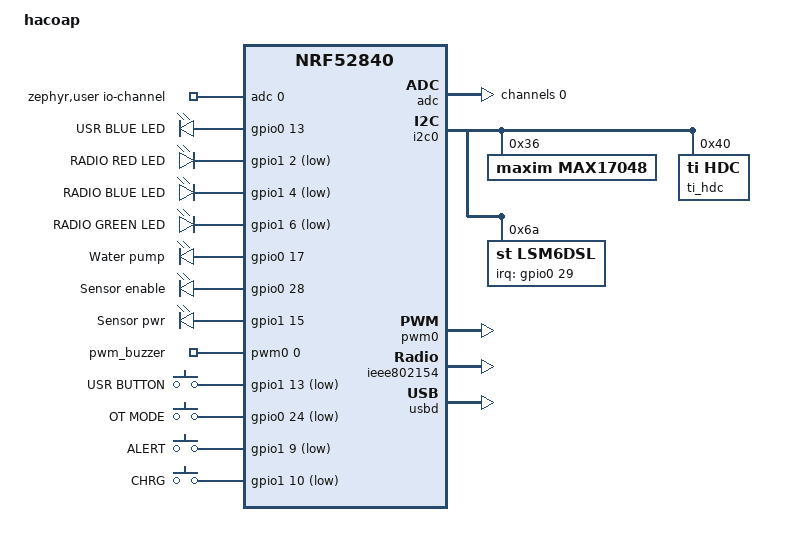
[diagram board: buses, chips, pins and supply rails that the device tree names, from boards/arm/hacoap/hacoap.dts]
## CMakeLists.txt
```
#
# Copyright (c) 2020 Nordic Semiconductor ASA
#
# SPDX-License-Identifier: LicenseRef-Nordic-5-Clause
#

cmake_minimum_required(VERSION 3.20.0)

# The hacoap board lives in this application (boards/arm/hacoap), so no -DBOARD_ROOT is needed,
# and it is the default board, so '-b hacoap' is optional.
list(APPEND BOARD_ROOT ${CMAKE_CURRENT_SOURCE_DIR})
if(NOT DEFINED BOARD AND NOT DEFINED ENV{BOARD})
    set(BOARD hacoap)
endif()

# Private settings (local.conf, not in git; see local.conf.example), merged after prj.conf
# and alongside any -DEXTRA_CONF_FILE.
if(EXISTS ${CMAKE_CURRENT_SOURCE_DIR}/local.conf)
    set(EXTRA_CONF_FILE ${CMAKE_CURRENT_SOURCE_DIR}/local.conf)
endif()

# Firmware version, from the VERSION file (Zephyr's format), into the MCUboot image header:
# what mcumgr's image list and the fleet manager show. VERSION_TWEAK is the build number.
file(READ ${CMAKE_CURRENT_SOURCE_DIR}/VERSION version_file)
set_property(DIRECTORY APPEND PROPERTY CMAKE_CONFIGURE_DEPENDS ${CMAKE_CURRENT_SOURCE_DIR}/VERSION)
foreach(field VERSION_MAJOR VERSION_MINOR PATCHLEVEL VERSION_TWEAK)
    if(NOT version_file MATCHES "${field} = ([0-9]+)")
        message(FATAL_ERROR "application/VERSION has no ${field}")
    endif()
    set(${field} ${CMAKE_MATCH_1})
endforeach()
set(image_version "${VERSION_MAJOR}.${VERSION_MINOR}.${PATCHLEVEL}+${VERSION_TWEAK}")
file(WRITE ${CMAKE_BINARY_DIR}/image_version.conf "CONFIG_MCUBOOT_IMAGE_VERSION=\"${image_version}\"\n")
list(APPEND EXTRA_CONF_FILE ${CMAKE_BINARY_DIR}/image_version.conf)
message(STATUS "Image version: ${image_version}")

# Settings from the file named by $HACOAP_EXTRA_CONF (the fleet manager's build profiles),
# merged after local.conf.
if(DEFINED ENV{HACOAP_EXTRA_CONF})
    list(APPEND EXTRA_CONF_FILE $ENV{HACOAP_EXTRA_CONF})
endif()

# MCUboot signing key: $HACOAP_SIGNING_KEY if set, else keys/mcuboot-signing-key.pem
# (not in git; create it with scripts/keygen). MCUboot embeds the public half, and the
# application images are signed with it, so a board only accepts updates signed with the
# key its bootloader was built with. Without a key, the build falls back to MCUboot's
# public development key, which anyone can sign with.
if(NOT DEFINED mcuboot_CONFIG_BOOT_SIGNATURE_KEY_FILE)
    if(DEFINED ENV{HACOAP_SIGNING_KEY})
        get_filename_component(signing_key "$ENV{HACOAP_SIGNING_KEY}" ABSOLUTE)
        if(NOT EXISTS ${signing_key})
            message(FATAL_ERROR "HACOAP_SIGNING_KEY is set, but ${signing_key} does not exist.")
        endif()
    else()
        set(signing_key ${CMAKE_CURRENT_SOURCE_DIR}/keys/mcuboot-signing-key.pem)
    endif()
    if(EXISTS ${signing_key})
        file(TO_CMAKE_PATH "${signing_key}" signing_key)
        set(mcuboot_CONFIG_BOOT_SIGNATURE_KEY_FILE "\"${signing_key}\"")
        message(STATUS "MCUboot signing key: ${signing_key}")
    else()
        message(WARNING "No private signing key (application/keys/mcuboot-signing-key.pem or "
            "HACOAP_SIGNING_KEY). This build uses MCUboot's public development key: anyone can "
            "sign images that it accepts, and boards with a private-key bootloader reject it. "
            "Run scripts/keygen to create your key.")
    endif()
endif()

find_package(Zephyr REQUIRED HINTS $ENV{ZEPHYR_BASE})

# Thread joiner PSKd: OpenThread silently refuses an invalid one, so check it here.
string(LENGTH "${CONFIG_OPENTHREAD_JOINER_PSKD}" pskd_length)
if(NOT CONFIG_OPENTHREAD_JOINER_PSKD MATCHES "^[0-9A-HJ-NPR-Y]+$" OR pskd_length LESS 6 OR pskd_length GREATER 32)
    message(FATAL_ERROR "CONFIG_OPENTHREAD_JOINER_PSKD (\"${CONFIG_OPENTHREAD_JOINER_PSKD}\") must be "
        "6 to 32 characters, A-Z and 0-9, without I, O, Q and Z. Set it in application/local.conf.")
endif()
if(CONFIG_OPENTHREAD_JOINER_PSKD STREQUAL "J01NU5")
    message(WARNING "The joiner PSKd is the public default J01NU5. Set your own in "
        "application/local.conf (see local.conf.example).")
endif()

project(openthread_coap_server)

FILE(GLOB app_sources src/*.c)
# The log over the air only when it's on (CONFIG_HACOAP_REMOTE_LOG)
list(FILTER app_sources EXCLUDE REGEX "/(log_buffer|remote_log)\\.c$")
# NORDIC SDK APP START
target_sources(app PRIVATE ${app_sources})
target_sources_ifdef(CONFIG_HACOAP_REMOTE_LOG app PRIVATE src/log_buffer.c src/remote_log.c)
target_include_directories(app PRIVATE include)
# NORDIC SDK APP END

# Generate include/version.h (the git commit, reported in the 'info' resource) at every build
add_custom_target(
    generate_version_header
    COMMAND ${CMAKE_COMMAND}
        -DSOURCE_DIR=${CMAKE_CURRENT_SOURCE_DIR}
        -DHEADER_FILE=${CMAKE_BINARY_DIR}/include/version.h
        -P ${CMAKE_CURRENT_SOURCE_DIR}/scripts/generate_version.cmake
    COMMENT "Generating version header file"
)

# Ensure the version header is generated before the build starts
add_dependencies(app generate_version_header)

# Include the directory where version.h will be generated
include_directories(${CMAKE_BINARY_DIR}/include)
```

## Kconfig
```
#
# Copyright (c) 2020 Nordic Semiconductor ASA
#
# SPDX-License-Identifier: LicenseRef-Nordic-5-Clause
#

menu "Zephyr Kernel"
source "Kconfig.zephyr"
endmenu

menu "ha-coap application"

config HACOAP_HW_VERSION
	string "Hardware version"
	default "v2.0"
	help
	  Board revision reported in the 'info' CoAP resource.

config HACOAP_BOOT_DELAY_MS
	int "Delay at the start of main() (ms)"
	default 2150

config HACOAP_STATUS_LED_TIMEOUT_S
	int "How long the RGB LED shows a state (s)"
	range 0 86400
	default 300
	help
	  The RGB LED shows the network state (and errors) as a short flash
	  every 5 s. It stops this long after the last change, to save power
	  when the network stays down. 0 flashes for as long as the state lasts.

config HACOAP_MCUMGR_POLL_PERIOD_MS
	int "Thread poll period while mcumgr is in use (ms)"
	range 10 10000
	default 100
	help
	  A sleepy device receives a message only when it polls its parent, so
	  with a long CONFIG_OPENTHREAD_POLL_PERIOD every mcumgr request (each
	  chunk of an image upload) would wait up to a full period. The device
	  polls at this period from the first mcumgr request until
	  HACOAP_MCUMGR_POLL_TIMEOUT_S after the last one. Reading the 'log'
	  resource (HACOAP_REMOTE_LOG) does the same.

config HACOAP_MCUMGR_POLL_TIMEOUT_S
	int "Return to the normal poll period after this long without mcumgr requests (s)"
	range 1 3600
	default 30

config HACOAP_USB_POLL_PERIOD_MS
	int "Thread poll period on USB power (ms)"
	range 10 600000
	default 500
	help
	  On USB power, battery life doesn't matter: the device polls its parent at
	  least this often, so commands reach it quickly. On the battery again, it
	  goes back to the normal period (CONFIG_OPENTHREAD_POLL_PERIOD, or the
	  'poll_ms' setting). mcumgr still polls faster (HACOAP_MCUMGR_POLL_PERIOD_MS).

config HACOAP_POWER_CHECK_S
	int "How often the device checks whether it's on USB power, and charging (s)"
	range 1 3600
	default 10

config HACOAP_BOOT_PROBE
	bool "Diagnostic build: boot breadcrumbs in the board's settings"
	help
	  For an image that doesn't start after an update (the bootloader reverts it, and
	  it's never seen): as it starts, it writes how far it got into two settings, which
	  the previous firmware reports over mcumgr after the revert. 'sample_s' is the stage
	  reached times 1000 plus the uptime in seconds (1: main, 2: watchdog set up, 3: after
	  the boot delay, 4: boot counted, 5: USB, 6: sensors, 7: CoAP, 8: OpenThread
	  started, 9 and up: every 5 s after). 'soil_wet_mv' is 1 + 100 times the reset cause
	  (diag.h) + 10 if the watchdog was already running. Once the boot got through
	  (stage 20), it puts both back as they were: they stay only when it got stuck.
	  Not for boards in use.

config HACOAP_REMOTE_LOG
	bool "Log over the air (the 'log' CoAP resource)"
	select LOG
	help
	  Keeps the latest log output in RAM (HACOAP_REMOTE_LOG_BUFFER_SIZE)
	  for the 'log' CoAP resource, which the fleet manager's console reads
	  over Thread. While someone reads it, the device polls its parent
	  fast, as during an update, so a console costs battery only while it
	  is open. Turns logging on, which adds about 27 KB of flash and 10 KB
	  of RAM to the battery variant, and a little power for each log line.
	  Without it, 'log' answers 4.04 Not Found.

config HACOAP_REMOTE_LOG_BUFFER_SIZE
	int "Log output kept for the 'log' resource (bytes)"
	depends on HACOAP_REMOTE_LOG
	range 512 16384
	default 4096
	help
	  The latest log output the device keeps: what a console shows when it
	  opens (the log since boot, until it fills), and how much a reader
	  can fall behind without missing lines.

menu "Readings kept, and pushed"

config HACOAP_HISTORY_SIZE
	int "Samples kept for the 'hist' resource"
	range 16 1024
	default 192
	help
	  The latest sensor samples the device keeps in RAM (12 bytes each):
	  the fleet manager reads the ones it doesn't have yet, so a border
	  router or network that was down leaves no gap in its history, as
	  long as it's back within this many samples (192: 48 hours at the
	  default sampling period of 15 minutes). They're lost at a restart.

config HACOAP_PUSH
	bool "Push the samples that changed (CoAP Observe on 'hist')"
	default y
	help
	  The fleet manager registers to observe 'hist' at each refresh. After
	  a sample that changed enough since the last one it was given (its
	  soil or battery by HACOAP_PUSH_SOIL_DELTA or HACOAP_PUSH_BATTERY_DELTA,
	  or the power source: the device takes a sample when it changes), the
	  device sends it the samples it doesn't have, in one non-confirmable
	  message: a plant that needs water or a board plugged in shows within
	  seconds instead of at the next refresh. A message only when something
	  changed: about the cost of one more poll.

config HACOAP_PUSH_SOIL_DELTA
	int "Push when the soil moisture moved this much (%)"
	depends on HACOAP_PUSH
	range 1 100
	default 5

config HACOAP_PUSH_BATTERY_DELTA
	int "Push when the battery moved this much (%)"
	depends on HACOAP_PUSH
	range 1 100
	default 5

config HACOAP_PUSH_LEASE_S
	int "Stop pushing this long after the observer last registered (s)"
	depends on HACOAP_PUSH
	range 60 86400
	default 7200
	help
	  The fleet manager registers again at each refresh (every 15 minutes
	  by default). One that's gone stops getting messages after this.

config HACOAP_PUSH_OBSERVERS
	int "Observers at once"
	depends on HACOAP_PUSH
	range 1 4
	default 3
	help
	  How many senders can observe 'hist' at the same time (the fleet
	  manager, Home Assistant...), about 60 bytes of RAM each. One that
	  registers again keeps its place; when all are taken, a new one
	  replaces the one that registered longest ago.

endmenu

menu "Joining the network"

config HACOAP_JOIN_RETRY_S
	int "Try joining again every (s), at first"
	range 10 3600
	default 30
	help
	  A device without a network runs the Thread joiner at boot. If no
	  commissioner accepts joiners at that moment, it tries again this
	  often for the first HACOAP_JOIN_RETRY_FAST_FOR_S after boot, so a
	  commissioner started after the board was powered on still gets it.
	  Each try listens on every channel for a few seconds.

config HACOAP_JOIN_RETRY_FAST_FOR_S
	int "For this long after boot (s)"
	range 0 86400
	default 600

config HACOAP_JOIN_RETRY_SLOW_S
	int "Then try every (s)"
	range 10 86400
	default 120
	help
	  How often a device that still has no network tries to join, after
	  the first HACOAP_JOIN_RETRY_FAST_FOR_S: often enough to join within
	  a commissioner's window of a few minutes (open it for 300 s), seldom
	  enough to spare the battery of a board left without a network. Only
	  a device that never joined (or forgot its network) tries: one that
	  lost its border router keeps its network and waits for it.

endmenu

menu "Pump"

config HACOAP_PUMP_DEFAULT_DURATION
	int "Default pump run time (s)"
	range 1 9
	default 1
	help
	  How long the pump runs after a 'pump' PUT or a press of S1, until a
	  'pumpdc' PUT changes it (and the change is kept across resets).
	  The default for the board's 'pump_s' setting, which the fleet
	  manager changes without a new firmware (src/device_settings.c).

config HACOAP_PUMP_MAX_DURATION
	int "Longest pump run time a 'pumpdc' PUT can set (s)"
	range 1 9
	default 9
	help
	  The 'pumpdc' payload is a single ASCII digit, so 9 s is the upper limit.

endmenu

menu "Sensors"

config HACOAP_SENSOR_SAMPLE_PERIOD_S
	int "Sensor sampling period (s)"
	range 10 86400
	default 900
	help
	  The sensors are sampled at boot and then every period, from the system
	  work queue. The 'data' resource returns the latest samples, so a CoAP
	  request never waits on the sensors. A shorter period gives fresher data
	  but powers the soil sensor more often (about 1 mC per sample).
	  The default for the board's 'sample_s' setting, which the fleet
	  manager changes without a new firmware (src/device_settings.c).

config HACOAP_SOIL_POWER_UP_MS
	int "Soil sensor power-up time (ms)"
	default 200
	help
	  Time between enabling the soil sensor supply (SENSOR_EN) and sampling it.

config HACOAP_SOIL_DRY_MV
	int "Soil sensor output when dry (mV)"
	default 2200
	help
	  Reported as 0% moisture. Must be above HACOAP_SOIL_WET_MV.
	  The default for the board's 'soil_dry_mv' setting, which the fleet
	  manager changes without a new firmware (src/device_settings.c).

config HACOAP_SOIL_WET_MV
	int "Soil sensor output when wet (mV)"
	default 980
	help
	  Reported as 100% moisture.
	  The default for the board's 'soil_wet_mv' setting, which the fleet
	  manager changes without a new firmware (src/device_settings.c).

endmenu

menu "Watchdog"

config HACOAP_WDT_TIMEOUT_MS
	int "Watchdog timeout (ms)"
	default 120000
	help
	  The SoC resets if the watchdog is not fed within this time. The
	  watchdog keeps running across a soft reset (an update's, mcumgr's),
	  and the start that follows is slow while it runs: on the boards, a
	  board answered again 15 to 40 s after a plain restart. With 30 s,
	  the watchdog reset it first, and an update's test image was reverted
	  every time. A running watchdog's timeout can't change: a new value
	  applies from the next power-on or watchdog reset.

config HACOAP_WDT_FEED_PERIOD_MS
	int "Watchdog feed period (ms)"
	default 10000
	help
	  How often the system work queue feeds the watchdog. Must be well below
	  HACOAP_WDT_TIMEOUT_MS.

endmenu

menu "SRP service registration"

config HACOAP_SRP_HOSTNAME
	string "SRP host name prefix"
	default "ha-coap"

config HACOAP_SRP_SERVICE_INSTANCE
	string "SRP service instance prefix"
	default "ha-coap"

config HACOAP_SRP_LEASE_S
	int "SRP lease (s)"
	range 300 86400
	default 1800
	help
	  How long the border router keeps advertising the device after its
	  last registration. The device renews it before it ends (one small
	  message), so a board that's gone (dead battery, moved) disappears
	  from Home Assistant's and the fleet manager's discovery within this
	  time. OpenThread's default is 7200.

config HACOAP_SRP_SERVICE_NAME
	string "SRP service name"
	default "_ot._udp"
	help
	  The Home Assistant integration discovers devices through this service.

choice HACOAP_SRP_NAME_SUFFIX
	prompt "Suffix appended to the host and instance names"
	default HACOAP_SRP_SUFFIX_DEVICE_ID
	help
	  The SRP server rejects duplicate host names, so every device needs a
	  unique name. The HA integration uses the part after the '-' as the
	  device's unique ID.

config HACOAP_SRP_SUFFIX_DEVICE_ID
	bool "Factory device ID (FICR DEVICEID[0], in hex)"

config HACOAP_SRP_SUFFIX_RANDOM
	bool "Random number, new at every boot"

config HACOAP_SRP_SUFFIX_MANUAL
	bool "Fixed ID (HACOAP_SRP_MANUAL_ID)"

config HACOAP_SRP_SUFFIX_NONE
	bool "No suffix (one device per network only)"

endchoice

config HACOAP_SRP_MANUAL_ID
	string "Fixed ID appended to the names"
	depends on HACOAP_SRP_SUFFIX_MANUAL
	default "87d7a063"

endmenu

endmenu

module = COAP_SERVER
module-str = CoAP server
source "${ZEPHYR_BASE}/subsys/logging/Kconfig.template.log_config"

module = COAP_RESOURCES
module-str = CoAP resources
source "${ZEPHYR_BASE}/subsys/logging/Kconfig.template.log_config"
```

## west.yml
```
# West manifest: the repository root is the west workspace and the SDK is fetched
# into external/ (scripts/setup.ps1 or scripts/setup.sh runs 'west update').
#
# The SDK comes from forks of sdk-nrf (v2.4-branch) and sdk-zephyr
# (v3.3.99-ncs1-branch), pinned to exact commits so that every clone builds the
# same code. To move to newer fork commits, update both revisions below and run
# 'west update'.
manifest:
  self:
    path: application
  remotes:
    - name: yanntalhouarne
      url-base: https://github.com/yanntalhouarne
  projects:
    - name: sdk-nrf
      remote: yanntalhouarne
      path: nrf
      revision: 467c0042b035ceced125f75ce236736e19d057b8 # v2.4-branch, 2024-03-03
      import:
        path-prefix: external
      clone-depth: 1
    # sdk-nrf's manifest tracks the sdk-zephyr branch. This entry takes precedence
    # over it to pin the commit; the import list is copied from sdk-nrf's west.yml.
    - name: zephyr
      remote: yanntalhouarne
      repo-path: sdk-zephyr
      path: zephyr
      revision: debd8afc9d2792ab716b116997290ebf6dd50d4b # v3.3.99-ncs1-branch, 2024-03-04
      clone-depth: 1
      import:
        path-prefix: external
        name-allowlist:
          - TraceRecorderSource
          - canopennode
          - chre
          - cmsis
          - edtt
          - fatfs
          - hal_nordic
          - hal_st
          - hal_wurthelektronik
          - liblc3
          - libmetal
          - littlefs
          - loramac-node
          - lvgl
          - lz4
          - mipi-sys-t
          - nanopb
          - net-tools
          - nrf_hw_models
          - open-amp
          - picolibc
          - psa-arch-tests
          - segger
          - tinycbor
          - tinycrypt
          - tf-m-tests
          - uoscore-uedhoc
          - zcbor
          - zscilib
```

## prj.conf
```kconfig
#
# Copyright (c) 2020 Nordic Semiconductor
#
# SPDX-License-Identifier: LicenseRef-Nordic-5-Clause
#

# nRF board library
CONFIG_DK_LIBRARY=y
CONFIG_OPENTHREAD_NORDIC_LIBRARY_MASTER=y

#CONFIG_MAIN_STACK_SIZE=4069

# Enable OpenThread CoAP support API
CONFIG_OPENTHREAD_COAP=y

# Network shell
#CONFIG_SHELL=n
CONFIG_OPENTHREAD_SHELL=n
#CONFIG_SHELL_ARGC_MAX=26
#CONFIG_SHELL_CMD_BUFF_SIZE=416

# Network sockets
CONFIG_NET_SOCKETS=y
CONFIG_NET_SOCKETS_POSIX_NAMES=y
CONFIG_NET_SOCKETS_POLL_MAX=4

# Thread commissioning: at boot, a device without network credentials runs the
# Joiner with this pre-shared key (PSKd). The network key itself comes from the
# border router when the device joins, so no network credentials are built in.
# J01NU5 is public: set your own PSKd in application/local.conf (see
# local.conf.example), which is not committed.
CONFIG_OPENTHREAD_JOINER_PSKD="J01NU5"
CONFIG_OPENTHREAD_JOINER=y
CONFIG_OPENTHREAD_JOINER_AUTOSTART=y

# L2 OpenThread enabling
CONFIG_NET_L2_OPENTHREAD=y

# Generic networking options
CONFIG_NETWORKING=y

CONFIG_MBEDTLS_SHA1_C=n
CONFIG_FPU=y

# ADC
CONFIG_ADC=y

# Fuel gauge
CONFIG_FUEL_GAUGE=y

# Temperature/Humidity sensor
CONFIG_SENSOR=y

# TOF: the VL53L0X node is disabled in the board DTS while the feature is unused.
# To use it, enable the node and set CONFIG_VL53L0X=y.
CONFIG_CBPRINTF_FP_SUPPORT=y

# IMU
#CONFIG_LSM6DSL_TRIGGER_GLOBAL_THREAD=y

# PWM
CONFIG_PWM=y

# Watchdog (fed from the system work queue, see watchdog_init())
CONFIG_WATCHDOG=y
# The application's own fatal error handler (src/diag.c) records the crash for the next
# boot, then resets, instead of the SDK's, which only resets.
CONFIG_RESET_ON_FATAL_ERROR=n

CONFIG_NEWLIB_LIBC_FLOAT_PRINTF=y

CONFIG_BOOTLOADER_MCUBOOT=y
#CONFIG_BOOT_SERIAL_CDC_ACM=y

# Enable MCUMGR 
CONFIG_MCUMGR=y

# Enable MCUMGR management for both OS and Images
CONFIG_MCUMGR_GRP_OS=y
CONFIG_MCUMGR_GRP_IMG=y

# mcumgr over USB CDC ACM (the board's chosen zephyr,uart-mcumgr)
CONFIG_MCUMGR_TRANSPORT_UART=y

# Notifies the application of each mcumgr request, to poll faster during
# updates (src/mcumgr_poll.c)
CONFIG_MCUMGR_MGMT_NOTIFICATION_HOOKS=y
CONFIG_MCUMGR_SMP_COMMAND_STATUS_HOOKS=y

# Dependencies
# Configure dependencies for CONFIG_MCUMGR  
CONFIG_NET_BUF=y
CONFIG_ZCBOR=y
CONFIG_CRC=y

# Configure dependencies for CONFIG_MCUMGR_GRP_IMG  
CONFIG_FLASH=y
CONFIG_IMG_MANAGER=y

# Configure dependencies for CONFIG_IMG_MANAGER  
CONFIG_STREAM_FLASH=y
CONFIG_FLASH_MAP=y

# Configure dependencies for CONFIG_MCUMGR_TRANSPORT_UART 
CONFIG_BASE64=y

#CONFIG_USB_CDC_ACM = y
CONFIG_CONSOLE=y
# CONFIG_UART_CONSOLE_BAUDRATE=115200
# CONFIG_MCUMGR_TRANSPORT_UART_BAUDRATE=115200
CONFIG_USB_DEVICE_STACK=y
CONFIG_USB_DEVICE_REMOTE_WAKEUP=n
CONFIG_USB_DEVICE_MANUFACTURER="Yann T."
CONFIG_USB_DEVICE_PRODUCT="HA CoAp Device"
CONFIG_USB_DEVICE_VID=0x1915
CONFIG_USB_DEVICE_PID=0x0000
CONFIG_USB_DEVICE_INITIALIZE_AT_BOOT=n
CONFIG_SERIAL=y
CONFIG_UART_LINE_CTRL=n
# Thread sleepy end device (battery operation). Messages to the device wait at
# its parent until the next poll, so commands from Home Assistant can take up to
# the poll period (3 s, about 9 uA average). mcumgr requests switch to a faster
# period for the duration of an update (CONFIG_HACOAP_MCUMGR_POLL_PERIOD_MS).
CONFIG_OPENTHREAD_MTD=y
CONFIG_OPENTHREAD_MTD_SED=y
CONFIG_OPENTHREAD_POLL_PERIOD=3000

# Powers down the RAM sections above the heap, and powers them back up as the
# heap grows. Needs the full newlib (not nano), which also uses the heap.
CONFIG_RAM_POWER_DOWN_LIBRARY=y
CONFIG_NEWLIB_LIBC_NANO=n
CONFIG_RAM_POWER_ADJUST_ON_HEAP_RESIZE=y
CONFIG_PM_DEVICE=y

# mcumgr over Thread (UDP port 1337) for over-the-air updates, in addition to
# mcumgr over USB (the board's cdc_acm_uart0)
CONFIG_MCUMGR_TRANSPORT_UDP=y
CONFIG_MCUMGR_TRANSPORT_UDP_IPV6=y
CONFIG_NET_UDP=y
CONFIG_NET_IPV6=y
CONFIG_NET_CONNECTION_MANAGER=y
CONFIG_NET_CONFIG_SETTINGS=y
```

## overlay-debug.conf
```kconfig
# Enable asserts
CONFIG_ASSERT=y
CONFIG_ASSERT_NO_COND_INFO=y
# No file names in assert messages either, to fit (a debugger shows where it stopped)
CONFIG_ASSERT_NO_FILE_INFO=y

# Debug-friendly build: -Og and thread info for the debugger.
# -Og does not fit in the application slot together with overlay-logging.conf.
CONFIG_DEBUG_OPTIMIZATIONS=y
CONFIG_DEBUG_THREAD_INFO=y

# Back to newlib-nano (about 13 KB smaller): the full newlib that RAM power-down
# needs doesn't fit with -Og. Power use doesn't matter in a debug build.
CONFIG_RAM_POWER_ADJUST_ON_HEAP_RESIZE=n
CONFIG_NEWLIB_LIBC_NANO=y
```

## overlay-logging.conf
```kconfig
#
# Copyright (c) 2022 Nordic Semiconductor
#
# SPDX-License-Identifier: LicenseRef-Nordic-5-Clause

# Configure sample logging setting
CONFIG_LOG=y
CONFIG_ASSERT=y

# Enable net module logging
#CONFIG_NET_LOG=y
# Option for configuring log level in net config library
#CONFIG_NET_CONFIG_LOG_LEVEL_INF=y

# Option for configuring log level in Zephyr L2 logging
#CONFIG_OPENTHREAD_L2_DEBUG=y
#CONFIG_OPENTHREAD_L2_LOG_LEVEL_DBG=y
# CONFIG_OPENTHREAD_L2_DEBUG_DUMP_15_4=y
# CONFIG_OPENTHREAD_L2_DEBUG_DUMP_IPV6=y

CONFIG_COAP_SERVER_LOG_LEVEL_INF=y
#CONFIG_COAP_SERVER_LOG_LEVEL_ERR=y

# CONFIG_COAP_SERVER_LOG_LEVEL_DBG=y
# CONFIG_OPENTHREAD_DEBUG=y

# Log level of the CoAP resources (src/coap_resources.c)
CONFIG_COAP_RESOURCES_LOG_LEVEL_INF=y
# CONFIG_COAP_RESOURCES_LOG_LEVEL_DBG=y
#CONFIG_OPENTHREAD_LOG_LEVEL_INFO=y


# Disable RTT logging backend
#CONFIG_USE_SEGGER_RTT=n
#CONFIG_LOG_BACKEND_RTT=n

# Enable UART logging backend
#CONFIG_LOG_BACKEND_UART=y
#CONFIG_SHELL_LOG_BACKEND=y

# Enable PWM logs
#CONFIG_LOG_PWM=y

# Enable PWM logs
#CONFIG_PWM_LOG_LEVEL_DBG=y
```

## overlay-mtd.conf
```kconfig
# Enable MTD Sleepy End Device
CONFIG_OPENTHREAD_MTD=y
CONFIG_OPENTHREAD_MTD_SED=y
CONFIG_OPENTHREAD_POLL_PERIOD=1000
CONFIG_RAM_POWER_DOWN_LIBRARY=y
CONFIG_PM_DEVICE=y
# Debug options (-Og, thread info) live in overlay-debug.conf
```

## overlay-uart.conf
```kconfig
# Console and logs on the J4 UART (P0.06 TX, P0.08 RX). Use with boards/uart.overlay,
# which enables uart0 and makes it the console.
CONFIG_SERIAL=y
CONFIG_CONSOLE=y
CONFIG_UART_CONSOLE=y
```

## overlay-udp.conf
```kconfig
# Enable the UDP MCUmgr transport.
CONFIG_MCUMGR_TRANSPORT_UDP=y
#CONFIG_MCUMGR_TRANSPORT_UDP_IPV4=y
CONFIG_MCUMGR_TRANSPORT_UDP_IPV6=y

# Network settings
CONFIG_NETWORKING=y
CONFIG_NET_UDP=y
#CONFIG_NET_IPV4=y
CONFIG_NET_IPV6=y
CONFIG_NET_SOCKETS=y
CONFIG_NET_SOCKETS_POSIX_NAMES=y
CONFIG_NET_CONNECTION_MANAGER=y
CONFIG_NET_CONFIG_SETTINGS=y
#CONFIG_NET_CONFIG_MY_IPV4_ADDR="192.168.1.1"
#CONFIG_NET_CONFIG_MY_IPV6_ADDR="fd49:969:3c3c:1:7f42:74da:58be:3176"
```

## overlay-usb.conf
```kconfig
#
# Copyright (c) 2021 Nordic Semiconductor
#
# SPDX-License-Identifier: LicenseRef-Nordic-5-Clause
#

#CONFIG_SHELL_BACKEND_SERIAL_INIT_PRIORITY=51

# enable uart driver
CONFIG_SERIAL=y

# enable console
CONFIG_CONSOLE=y
CONFIG_UART_CONSOLE=y
CONFIG_UART_LINE_CTRL=n
#CONFIG_SHELL_BACKEND_SERIAL_CHECK_DTR=y
#CONFIG_USB_CDC_ACM_LOG_LEVEL_OFF=y
#CONFIG_USB_CDC_ACM = y
CONFIG_USB_DEVICE_STACK=y
# Two CDC ACM ports: mcumgr (the board's cdc_acm_uart0) and the console (boards/usb-console.overlay)
CONFIG_USB_COMPOSITE_DEVICE=y
CONFIG_USB_DEVICE_REMOTE_WAKEUP=n
CONFIG_USB_DEVICE_MANUFACTURER="Yann T."
CONFIG_USB_DEVICE_PRODUCT="HA CoAp Device"
CONFIG_USB_DEVICE_VID=0x1915
CONFIG_USB_DEVICE_PID=0x0000
CONFIG_USB_DEVICE_INITIALIZE_AT_BOOT=y
```

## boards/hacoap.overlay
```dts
/* Copyright (c) 2020 Nordic Semiconductor ASA
 *
 * SPDX-License-Identifier: LicenseRef-Nordic-5-Clause
 */

/ {
	/*
	* In some default configurations within the nRF Connect SDK,
	* e.g. on nRF52840, the chosen zephyr,entropy node is &cryptocell.
	* This devicetree overlay ensures that default is overridden wherever it
	* is set, as this application uses the RNG node for entropy exclusively.
	*/
	chosen {
		zephyr,entropy = &rng;
	};

	zephyr,user {
		io-channels = <&adc 0>;
	};
};

&adc {
	#address-cells = <1>;
	#size-cells = <0>;

	channel@0 {
		reg = <0>;
		zephyr,gain = "ADC_GAIN_1_6";
		zephyr,reference = "ADC_REF_INTERNAL";
		zephyr,acquisition-time = <ADC_ACQ_TIME_DEFAULT>;
		zephyr,input-positive = <NRF_SAADC_AIN0>; /* P0.02 */
		zephyr,resolution = <12>;
	};
};

&i2c0 {
	status = "okay";
	compatible = "nordic,nrf-twim";
	pinctrl-0 = <&i2c0_default>;
	pinctrl-1 = <&i2c0_sleep>;
	pinctrl-names = "default", "sleep";
	max17048:max17048@36 {
		compatible = "maxim,max17048";
		status = "ok";
		reg = <0x36 >;
	};
	ti_hdc: ti_hdc@40 {
		compatible = "ti,hdc","ti,hdc1080";
		reg = <0x40>;
	};
	vl53l0x@29 {
		compatible = "st,vl53l0x";
		reg = <0x29>;
		label = "VL53L0X";
	};
	lsm6dsl@6a {
		compatible = "st,lsm6dsl";
		status = "okay";
		reg = <0x6a>;
		irq-gpios = <&gpio0 29 GPIO_ACTIVE_HIGH>;
	};
};

// &arduino_adc {
// 	io-channel-map = <0 &adc 1>, <1 &adc 2>, <2 &adc 4>, <3 &adc 5>, <4 &adc 6>, <5 &adc 7>;
// };

&arduino_header {
	gpio-map = <0 0 &gpio0 3 0>,
			<1 0 &gpio0 4 0>,
			<2 0 &gpio0 28 0>,
			<3 0 &gpio0 29 0>,
			<4 0 &gpio0 30 0>,
			<5 0 &gpio0 31 0>,
			<6 0 &gpio1 1 0>,
			<7 0 &gpio1 2 0>,
			<8 0 &gpio1 3 0>,
			<9 0 &gpio1 4 0>,
			<10 0 &gpio1 5 0>,
			<11 0 &gpio1 6 0>,
			<12 0 &gpio1 7 0>,
			<13 0 &gpio1 8 0>,
			<14 0 &gpio1 10 0>,
			<15 0 &gpio1 11 0>,
			<16 0 &gpio1 12 0>,
			<17 0 &gpio1 13 0>,
			<18 0 &gpio1 14 0>,
			<19 0 &gpio1 15 0>,
			<20 0 &gpio0 26 0>,
			<21 0 &gpio0 27 0>;
};
```

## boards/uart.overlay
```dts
/*
 * Copyright (c) 2021 Nordic Semiconductor ASA
 *
 * SPDX-License-Identifier: LicenseRef-Nordic-5-Clause
 */

/ {
    chosen {
        zephyr,shell-uart = &uart0;
        zephyr,console = &uart0;
    };
};

/* uart0 is disabled in the board DTS to save power; enable it for console builds. */
&uart0 {
    status = "okay";
};
```

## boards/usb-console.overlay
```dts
/*
 * Console and logs on a second USB CDC ACM port, next to the board's mcumgr port
 * (cdc_acm_uart0). Use together with overlay-usb.conf and overlay-logging.conf.
 */

/ {
	chosen {
		zephyr,console = &cdc_acm_uart1;
	};
};

&zephyr_udc0 {
	cdc_acm_uart1: cdc_acm_uart1 {
		compatible = "zephyr,cdc-acm-uart";
	};
};
```

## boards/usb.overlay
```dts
/*
 * Copyright (c) 2021 Nordic Semiconductor ASA
 *
 * SPDX-License-Identifier: LicenseRef-Nordic-5-Clause
 */

 / {
	chosen {
		zephyr,console = &cdc_acm_uart0;
		zephyr,uart-mcumgr = &cdc_acm_uart0;
	};
};

 zephyr_udc0: &usbd {
 	compatible = "nordic,nrf-usbd";
 	status = "okay";
 
 	cdc_acm_uart0: cdc_acm_uart0 {
 		compatible = "zephyr,cdc-acm-uart";
		current-speed = <115200>;
 	};
 };
```

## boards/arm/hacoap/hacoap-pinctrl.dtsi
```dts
/*
 * Copyright (c) 2022 Nordic Semiconductor
 * SPDX-License-Identifier: Apache-2.0
 */

&pinctrl {

	/* UART 0 is broken out on connector J4, pins 6 (TX) and 7 (RX).
	 * There is no flow control on this board: P0.05 is the charger's PROG pin
	 * (I_BATT) and P0.07 is not connected, so RTS/CTS must not be assigned.
	 */
	uart0_default: uart0_default {
		group1 {
			psels = <NRF_PSEL(UART_TX, 0, 6)>;
		};
		group2 {
			psels = <NRF_PSEL(UART_RX, 0, 8)>;
			bias-pull-up;
		};
	};
	uart0_sleep: uart0_sleep {
		group1 {
			psels = <NRF_PSEL(UART_TX, 0, 6)>,
				<NRF_PSEL(UART_RX, 0, 8)>;
			low-power-enable;
		};
	};

	/* i2c0 is physically connected to the following devices:
			- MAX17048 fuel gauge (U1)
			- HDC1080D temperature/humidity sensor (U6)
			- VL53L0CX time-of-flight sensor (U7)
			- LSM6DSMT IMU sensor (U8)
	*/
	i2c0_default: i2c0_default {
		group1 {
			psels = <NRF_PSEL(TWIM_SDA, 0, 26)>,
				<NRF_PSEL(TWIM_SCL, 0, 27)>;
		};
	};
	i2c0_sleep: i2c0_sleep {
		group1 {
			psels = <NRF_PSEL(TWIM_SDA, 0, 26)>,
				<NRF_PSEL(TWIM_SCL, 0, 27)>;
			low-power-enable;
		};
	};

	/* PWM0 is connected to the gate of Q3, which drives buzzer BZ1.
	   The output must idle low (Q3 off), so the channel is not inverted.
	*/
	pwm0_default: pwm0_default {
		group1 {
			psels = <NRF_PSEL(PWM_OUT0, 0, 12)>;
		};
	};
	pwm0_sleep: pwm0_sleep {
		group1 {
			psels = <NRF_PSEL(PWM_OUT0, 0, 12)>;
			low-power-enable;
		};
	};

};
```

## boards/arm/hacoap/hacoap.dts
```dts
// Copyright (c) 2024 Nordic Semiconductor ASA
// SPDX-License-Identifier: Apache-2.0

/dts-v1/;
#include <nordic/nrf52840_qiaa.dtsi>
#include "hacoap-pinctrl.dtsi"

/ {
	model = "hacoap";
	compatible = "yann-t-hacoap";

	chosen {
		zephyr,sram = &sram0;
		zephyr,flash = &flash0;
		zephyr,code-partition = &slot0_partition;
		zephyr,ieee802154 = &ieee802154;
		zephyr,entropy = &rng;
		zephyr,uart-mcumgr = &cdc_acm_uart0;
	};
	zephyr,user {
		io-channels = <&adc 0>;
	};
	/* LEDs only: the DK library drives every child of this node, by index. */
	leds {
		compatible = "gpio-leds";
		led1: led_1 {
			gpios = <&gpio0 13 GPIO_ACTIVE_HIGH>;
			label = "USR BLUE LED";
		};
		/* RGB LED on the ACN52840 module */
		radio_red_led: radio_red_led {
			gpios = <&gpio1 2 GPIO_ACTIVE_LOW>;
			label = "RADIO RED LED";
		};
		radio_blue_led: radio_blue_led {
			gpios = <&gpio1 4 GPIO_ACTIVE_LOW>;
			label = "RADIO BLUE LED";
		};
		radio_green_led: radio_green_led {
			gpios = <&gpio1 6 GPIO_ACTIVE_LOW>;
			label = "RADIO GREEN LED";
		};
	};
	/* Other digital outputs, driven by the application through their aliases. */
	outputs {
		compatible = "gpio-leds";
		pump1: pump_1 {
			gpios = <&gpio0 17 GPIO_ACTIVE_HIGH>;
			label = "Water pump";
		};
		sensoren: sensor_en {
			gpios = <&gpio0 28 GPIO_ACTIVE_HIGH>;
			label = "Sensor enable";
		};
		sensorpwr: sensor_pwr {
			gpios = <&gpio1 15 GPIO_ACTIVE_HIGH>; // FPF1320 SEL: 0 selects VINA (VCC), 1 selects VINB (VCC_MCU).
			label = "Sensor pwr";
		};
	};
	buzzer {
		 compatible = "pwm-leds";
		 pwm_buzzer: pwm_buzzer {
			     pwms = <&pwm0 0 PWM_KHZ(6) PWM_POLARITY_NORMAL>;
		 };
	};
	buttons {
		compatible = "gpio-keys";
		button0: button_0 {
			gpios = <&gpio1 13 (GPIO_PULL_UP | GPIO_ACTIVE_LOW)>;
			label = "USR BUTTON";
		};
		button1: button_1 {
			gpios = <&gpio0 24 (GPIO_PULL_UP | GPIO_ACTIVE_LOW)>;
			label = "OT MODE";
		};
		button2: button_2 {
			gpios = <&gpio1 9 (GPIO_PULL_UP | GPIO_ACTIVE_LOW)>;
			label = "ALERT";
		};
		button3: button_3 {
			gpios = <&gpio1 10 (GPIO_PULL_UP | GPIO_ACTIVE_LOW)>;
			label = "CHRG";
		};
	};

	/* These aliases are provided for compatibilCity with samples */
	aliases {
		user-led = &led1;
		radio-red-led = &radio_red_led;
		radio-blue-led = &radio_blue_led;
		radio-green-led = &radio_green_led;
		pump1 = &pump1;
		sensor-en = &sensoren;
		sensor-pwr = &sensorpwr;
		pwm-buzzer= &pwm_buzzer;
		usrbutton = &button0;
		ot-mode = &button1;
		sw2 = &button2;
		charging = &button3; // STC4054 CHRG: low while charging (src/power.c)
		bootloader-led0 = &radio_red_led;
		mcuboot-button0 = &button0;
		mcuboot-led0 = &radio_red_led;
		watchdog0 = &wdt0;
	};
};

&adc {
	#address-cells = <1>;
	#size-cells = <0>;
	status = "okay";
	channel@0 {
		reg = <0>;
		zephyr,gain = "ADC_GAIN_1_6";
		zephyr,reference = "ADC_REF_INTERNAL";
		zephyr,acquisition-time = <ADC_ACQ_TIME_DEFAULT>;
		zephyr,input-positive = <NRF_SAADC_AIN0>; /* P0.02 */
		zephyr,resolution = <12>;
	};
};

&gpiote {
	status = "okay";
};

&gpio0 {
	status = "okay";
};

/* The user button (S1, P1.13) uses the PORT event (sense) rather than a GPIOTE IN
 * channel, which keeps the high-frequency clock running in sleep.
 */
&gpio1 {
	status = "okay";
	sense-edge-mask = <(1 << 13)>;
};

/* Disabled by default: an enabled UARTE keeps its receiver running, which costs
 * current in sleep. boards/uart.overlay enables it for console builds.
 */
&uart0 {
    compatible = "nordic,nrf-uarte";
    status = "disabled";
    current-speed = <115200>;
    pinctrl-0 = <&uart0_default>;
    pinctrl-1 = <&uart0_sleep>;
    pinctrl-names = "default", "sleep";
};

&i2c0 {
	status = "okay";
	compatible = "nordic,nrf-twim";
	pinctrl-0 = <&i2c0_default>;
	pinctrl-1 = <&i2c0_sleep>;
	pinctrl-names = "default", "sleep";
	max17048: max17048@36 {
		compatible = "maxim,max17048";
		status = "ok";
		reg = <0x36>;
	};
	ti_hdc: ti_hdc@40 {
		compatible = "ti,hdc","ti,hdc1080";
		reg = <0x40>;
	};
	/* Unused for now. Disabled so that nothing drives XSHUT (P0.09): R30 holds it high
	 * and the sensor idles in standby. The driver controls XSHUT once enabled.
	 */
	vl53l0x@29 {
		compatible = "st,vl53l0x";
		status = "disabled";
		reg = <0x29>;
		xshut-gpios = <&gpio0 9 GPIO_ACTIVE_HIGH>;
	};
	lsm6dsl@6a {
		compatible = "st,lsm6dsl";
		status = "okay";
		reg = <0x6a>;
		irq-gpios = <&gpio0 29 GPIO_ACTIVE_HIGH>;
	};
};

&pwm0 {
	status = "okay";
	pinctrl-0 = <&pwm0_default>;
	pinctrl-1 = <&pwm0_sleep>;
	pinctrl-names = "default", "sleep";
};

&ieee802154 {
	status = "okay";
};

&flash0 {
	partitions {
		compatible = "fixed-partitions";
		#address-cells = <1>;
		#size-cells = <1>;
		boot_partition: partition@0 {
			label = "mcuboot";
			reg = <0x00000000 0x0000C000>;
		};
		slot0_partition: partition@c000 {
			label = "image-0";
			reg = <0x0000C000 0x00076000>;
		};
		slot1_partition: partition@82000 {
			label = "image-1";
			reg = <0x00082000 0x00076000>;
		};
		/*
		 * The flash starting at 0x000f8000 and ending at
		 * 0x000fffff is reserved for use by the application.
		 */
		/*
		 * Storage partition will be used by FCB/LittleFS/NVS
		 * if enabled.
		 */
		storage_partition: partition@f8000 {
			label = "storage";
			reg = <0x000f8000 0x00008000>;
		};
	};
};

/* USB serial port used by mcumgr for firmware updates (boards/usb-console.overlay adds a second one) */
zephyr_udc0: &usbd {
	compatible = "nordic,nrf-usbd";
	status = "okay";

	cdc_acm_uart0: cdc_acm_uart0 {
		compatible = "zephyr,cdc-acm-uart";
		current-speed = <115200>;
	};
};
```

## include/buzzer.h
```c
/*
 * Yann T.
 *
 * buzzer.h
 *
 * Piezo buzzer on PWM0 (P0.12, Q3).
 */

#ifndef BUZZER_H_
#define BUZZER_H_

#include <stdbool.h>
#include <stdint.h>

enum buzzer_sound
{
	BUZZER_PUMP,      // the pump starts
	BUZZER_CONNECTED, // first successful SRP registration
	BUZZER_PING,      // 'ping' PUT with payload '1'
	BUZZER_FORGET,    // S1 held at boot: the network is forgotten
};

/* Plays 'sound' in the background. Returns false if another sound is already playing. */
bool buzzer_play(enum buzzer_sound sound);

/* Sets a continuous tone on (50% duty cycle) or off. For the boot jingle. */
void buzzer_tone(uint32_t frequency_khz, bool on);

#endif // BUZZER_H_
```

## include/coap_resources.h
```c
/*
 * Yann T.
 *
 * coap_resources.h
 *
 * The device's CoAP API: the resources Home Assistant talks to, and their payloads.
 * The application supplies the behavior through struct coap_resources_handlers.
 */

#ifndef COAP_RESOURCES_H_
#define COAP_RESOURCES_H_

#include <stdbool.h>
#include <stddef.h>
#include <stdint.h>
#include <openthread/coap.h>

/* CoAP port, also advertised through SRP */
#define COAP_PORT OT_DEFAULT_COAP_PORT

/* 'data' payload: soil moisture (%), battery state of charge (%), air humidity (%), temperature (degC, int8) */
#define DATA_PAYLOAD_SIZE 4

/* Maximum size of the 'info' payload ("<fw>,<hw>,<device id>" plus NUL terminator) */
#define INFO_PAYLOAD_MAX_SIZE 64

/* Maximum size of the 'diag' payload (see diag.h): room for every field with large counters */
#define DIAG_PAYLOAD_MAX_SIZE 256

/* Maximum size of the 'log' payload (see log_buffer.h): about the most that fits in one
 * IPv6 packet of a few 6LoWPAN fragments */
#define LOG_PAYLOAD_MAX_SIZE 512

/* Maximum size of the 'hist' payload (see history.h): 54 samples */
#define HIST_PAYLOAD_MAX_SIZE 512

/* 'pump' PUT payloads */
enum pump_command
{
	PUMP_CMD_OFF = '0',
	PUMP_CMD_ON = '1',
};

/* 'ping' PUT payloads */
enum ping_command
{
	PING_CMD_QUIET = '0',
	PING_CMD_BUZZER = '1',
};

/* 'info' resource strings, sent as "<fw_version>,<hw_version>,<device_id>" */
struct coap_info
{
	const char *fw_version;
	const char *hw_version;
	const char *device_id;
};

/* Application callbacks, called from the OpenThread thread. They must not block. */
struct coap_resources_handlers
{
	uint8_t (*pumpdc_get)(void);                       // returns the pump run time (s)
	uint8_t (*pumpdc_put)(uint8_t value);              // 'value' is the raw payload byte; returns the run time now in use
	bool (*pump_get)(void);                            // returns true while the pump runs
	void (*pump_put)(uint8_t command);                 // 'command' is a pump_command
	void (*data_get)(uint8_t payload[DATA_PAYLOAD_SIZE]);
	struct coap_info (*info_get)(void);
	void (*ping_put)(uint8_t command);                 // 'command' is a ping_command
	size_t (*diag_get)(char *payload, size_t size);    // writes the 'diag' payload, returns its length
	/* Writes the 'log' payload for a reader that has the log up to offset 'from', and
	 * returns its length. NULL when the device keeps no log ('log' answers 4.04). */
	size_t (*log_get)(uint32_t from, char *payload, size_t size);
	/* Writes the 'hist' payload for a reader that has every sample before 'from'
	 * (history_read()), sets '*next' to the sample after the last one written, and returns its
	 * length. NULL: 'hist' answers 4.04. */
	size_t (*hist_get)(uint32_t from, uint8_t *payload, size_t size, uint32_t *next);
};

/* Registers the resources and starts the CoAP server on COAP_PORT. 'handlers' must stay valid. */
int coap_resources_init(const struct coap_resources_handlers *handlers);

/* 'hist' can be observed (RFC 7641, CONFIG_HACOAP_PUSH): a GET with Observe 0 registers its
 * sender, until CONFIG_HACOAP_PUSH_LEASE_S after it registered; a GET with Observe 1 from it ends
 * it. Up to CONFIG_HACOAP_PUSH_OBSERVERS at once (the fleet manager, Home Assistant...): one that
 * registers again keeps its place; when they're all taken, a new one replaces the one that
 * registered longest ago. Each one registers again before its lease ends. */

/* Whether observer 'index' (0 to CONFIG_HACOAP_PUSH_OBSERVERS - 1) observes 'hist': if so, sets
 * '*next' to the first sample it wasn't given. Call with the OpenThread API lock held. */
bool coap_resources_observed(size_t index, uint32_t *next);

/* Sends observer 'index' the samples it wasn't given, in a non-confirmable notification (the same
 * payload as a GET). Call with the OpenThread API lock held. Returns 0, -ENOTCONN when it doesn't
 * observe, or another negative error. */
int coap_resources_notify(size_t index);

#endif // COAP_RESOURCES_H_
```

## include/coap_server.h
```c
/*
 * Yann T.
 *
 * coap_server.h
 *
 * Headers fonts:
 *     - major: ANSI Regular (dafault): https://patorjk.com/software/taag/#p=display&f=ANSI%20Regular&t=LOCALS%20%20%20%20%20INIT
 * 	   - minor: Big          (default): https://patorjk.com/software/taag/#p=display&f=Big&t=LEDS%20%20%20%20%20INIT
 */

#ifndef __OT_COAP_SERVER_H__
#define __OT_COAP_SERVER_H__

/*
██ ███    ██  ██████ ██      ██    ██ ██████  ███████ ███████
██ ████   ██ ██      ██      ██    ██ ██   ██ ██      ██
██ ██ ██  ██ ██      ██      ██    ██ ██   ██ █████   ███████
██ ██  ██ ██ ██      ██      ██    ██ ██   ██ ██           ██
██ ██   ████  ██████ ███████  ██████  ██████  ███████ ███████
*/
/* ZEPHYR */
#include <zephyr/kernel.h>
#include <zephyr/sys/atomic.h>
#include <zephyr/sys/util.h>
#include <zephyr/logging/log.h>
#include <zephyr/net/openthread.h>
#include <zephyr/usb/usb_device.h>
#include <zephyr/random/rand32.h>
#include <zephyr/devicetree.h>
#include <zephyr/device.h>
#include <zephyr/drivers/adc.h>
#include <zephyr/drivers/fuel_gauge.h>
#include <zephyr/drivers/sensor.h>
#include <zephyr/drivers/pwm.h>
#include <zephyr/drivers/gpio.h>
#include <zephyr/drivers/watchdog.h>
#include <soc.h>
/* OPENTHREAD */
#include <openthread/thread.h>
#include <openthread/srp_client.h>
#include <openthread/srp_client_buffers.h>
/* APPLICATION */
#include <dk_buttons_and_leds.h>
#include "ot_coap_utils.h"
#include "ot_srp_config.h"
/* OTHERS */
#include <stdio.h>
#include <string.h>

/*
███    ███  █████   ██████ ██████   ██████  ███████
████  ████ ██   ██ ██      ██   ██ ██    ██ ██
██ ████ ██ ███████ ██      ██████  ██    ██ ███████
██  ██  ██ ██   ██ ██      ██   ██ ██    ██      ██
██      ██ ██   ██  ██████ ██   ██  ██████  ███████
*/
/* LEDs (indices into the devicetree 'leds' node, driven through the DK library) */
#define LED1 0            // IO 0_13, blue user LED (LED2 on the schematic)
#define RADIO_RED_LED 1   // IO 1_2, module RGB LED
#define RADIO_BLUE_LED 2  // IO 1_4, module RGB LED
#define RADIO_GREEN_LED 3 // IO 1_6, module RGB LED

/* Timing */
#define BOOT_DELAY 2150 // in milli-seconds. Delay at the start of main().
#define PUMP_DEFAULT_ACTIVE_TIME 1 // in seconds. Default time the water pump is ON continuously.
#define PUMP_MIN_ACTIVE_TIME 1 // in seconds. Minimum time the water pump can be ON continuously.
#define PUMP_MAX_ACTIVE_TIME 10 // in seconds. Upper bound (exclusive) for the time the water pump can be ON continuously.
#define PUMP_BUZZER_FREQUENCY 4 // in kHz
#define PUMP_BUZZER_PERIOD 100 // in milli-seconds. Length of the beep when the pump starts.
#define OT_BUZZER_FREQUENCY 6 // in kHz
#define OT_BUZZER_PERIOD 100   // in milli-seconds. Length of each beep (and pause) when we successfully connect to the OT network.
#define OT_BUZZER_NBR_BEEPS 3  // number of beeps when we successfully connect to the OT network.
#define PING_BUZZER_FREQUENCY 10 // in kHz
#define PING_BUZZER_PERIOD 75   // in milli-seconds. Length of each beep (and pause) when we receive a 'ping' PUT request with payload '1'.
#define PING_BUZZER_NBR_BEEPS 6 // number of beeps when we receive a 'ping' PUT request with payload '1'.
#define INIT_BUZZER_PERIOD 100 // in milli-seconds. Time between buzzer pulses upon initialization.
#define SENSOR_POWER_UP_TIME 200 // in milli-seconds. Time the soil sensor needs after SENSOR_EN before it is sampled.
#define ERROR_BLINK_PERIOD 500 // in milli-seconds. On (and off) time of the red LED blinks reporting a missing sensor.
#define WDT_TIMEOUT 30000 // in milli-seconds. The SoC resets if the watchdog is not fed within this time.
#define WDT_FEED_PERIOD 10000 // in milli-seconds. How often the system work queue feeds the watchdog.

/* Calibration values*/
#define HUMIDITY_DRY 2200 // in mV
#define HUMIDITY_WET 980  // in mV

#endif // __OT_COAP_SERVER_H__
```

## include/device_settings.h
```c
/*
 * Yann T.
 *
 * device_settings.h
 *
 * Settings that can change without a new firmware: kept in flash (Zephyr's settings
 * subsystem, under "hacoap/"), with the Kconfig values as defaults. The fleet manager reads
 * and writes them through the 'hacoap' mcumgr group (hacoap_mgmt.c).
 */

#ifndef DEVICE_SETTINGS_H_
#define DEVICE_SETTINGS_H_

#include <stdbool.h>
#include <stddef.h>
#include <stdint.h>

enum device_setting
{
	SETTING_SAMPLE_S,    // sensor sampling period (s)
	SETTING_SOIL_DRY_MV, // soil sensor output when dry (mV): 0 %
	SETTING_SOIL_WET_MV, // soil sensor output when wet (mV): 100 %
	SETTING_PUMP_S,      // pump run time (s)
	SETTING_POLL_MS,     // Thread poll period (ms)
	SETTING_COUNT,
};

struct device_setting_info
{
	const char *name; // stored as "hacoap/<name>"; also the name in mcumgr requests
	int32_t min;
	int32_t max;
	int32_t default_value;
};

extern const struct device_setting_info device_settings_info[SETTING_COUNT];

/* Called after a setting changed (at load too), to apply it. */
typedef void (*device_settings_changed_cb)(enum device_setting id, int32_t value);

/* Loads the stored settings (the defaults for any not stored, or out of range). 'changed'
 * is called for each setting that differs from its default, and after every later change. */
int device_settings_init(device_settings_changed_cb changed);

int32_t device_setting_get(enum device_setting id);

/* The setting called 'name', or -1. */
int device_setting_find(const char *name, size_t length);

/* Sets several settings at once: all of them, or none if one is out of range or the soil
 * calibration would end up with dry at or below wet. They apply at once, and are stored from
 * the system work queue. Returns 0, or -EINVAL (nothing changed). */
int device_settings_set(const enum device_setting *ids, const int32_t *values, size_t count);

/* Number of boots, kept with the settings (diag.c counts them). */
uint32_t device_settings_boots(void);
int device_settings_count_boot(void);

#endif // DEVICE_SETTINGS_H_
```

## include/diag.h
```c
/*
 * Yann T.
 *
 * diag.h
 *
 * Why the device last restarted, a record of the last crash, the number of boots, and its
 * link to its parent: the 'diag' CoAP resource, which the fleet manager reads at each refresh.
 */

#ifndef DIAG_H_
#define DIAG_H_

#include <stdbool.h>
#include <stddef.h>
#include <stdint.h>
#include <openthread/instance.h>

enum diag_reset
{
	DIAG_RESET_POWER,    // power-on or brownout (also: no reason recorded)
	DIAG_RESET_PIN,      // the reset pin
	DIAG_RESET_SOFT,     // a software reset: after an update, or an mcumgr reset
	DIAG_RESET_WATCHDOG, // the watchdog: the system work queue stalled
	DIAG_RESET_LOCKUP,   // a CPU lockup
	DIAG_RESET_CRASH,    // a fatal error (see the crash record)
	DIAG_RESET_OTHER,
};

/* The device's link to its parent, read from OpenThread */
struct diag_link
{
	const char *role;       // "disabled", "detached", "child", "router" or "leader"
	bool attached;
	uint16_t rloc16;        // the device's own short address
	uint16_t parent_rloc16;
	int8_t parent_rssi;     // average (dBm)
	int8_t last_rssi;       // last frame (dBm)
	uint8_t link_quality;   // 0 to 3, incoming
};

/* Reads and clears the reset cause and the crash record, and counts the boot. Call once at
 * boot, after device_settings_init() (the count is stored with the settings). */
void diag_init(void);

enum diag_reset diag_reset_cause(void);
const char *diag_reset_name(enum diag_reset cause);

/* Reads the link to the parent. Call from the OpenThread thread (a CoAP handler). */
void diag_link_read(otInstance *instance, struct diag_link *link);

/* Writes the 'diag' payload, for example
 * "boots=12,up=3600,reset=crash,fault=3@0001a2b4,role=child,srp=registered,rloc=5c01,parent=5c00,rssi=-62,
 *  last_rssi=-60,lq=3,soil_mv=1696,power=charging,button_s=6,pump_ms=14020,pump_s=3,observers=3"
 * ('fault' only after a crash, the link only when attached; 'srp' is srp_state(), 'power'
 * power_name(), 'button_s' pump_button_seconds(), 'pump_ms' pump_run_ms(), 'pump_s' the pump's run
 * time setting, 'observers' how many can observe 'hist' at once, with CONFIG_HACOAP_PUSH). Returns
 * its length. */
size_t diag_format(char *payload, size_t size, const struct diag_link *link, const char *srp, int32_t soil_mv,
		   const char *power, uint32_t button_s, uint32_t pump_ms, uint8_t pump_s);

#endif // DIAG_H_
```

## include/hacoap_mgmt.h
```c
/*
 * Yann T.
 *
 * hacoap_mgmt.h
 */

#ifndef HACOAP_MGMT_H_
#define HACOAP_MGMT_H_

/* The 'hacoap' mcumgr group's ID: the first one for applications (MGMT_GROUP_ID_PERUSER) */
#define HACOAP_MGMT_GROUP 64

/* Registers the 'hacoap' mcumgr group: the device's settings (see hacoap_mgmt.c). */
void hacoap_mgmt_init(void);

#endif // HACOAP_MGMT_H_
```

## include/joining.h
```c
/*
 * Yann T.
 *
 * joining.h
 *
 * Joining the Thread network. The SDK's joiner tries once at boot
 * (CONFIG_OPENTHREAD_JOINER_AUTOSTART): if no commissioner accepts joiners at that moment,
 * this tries again, every HACOAP_JOIN_RETRY_S at first, then every HACOAP_JOIN_RETRY_SLOW_S,
 * until the device has a network. It also forgets the network on request, so the device
 * can join another one without a chip erase.
 */

#ifndef JOINING_H_
#define JOINING_H_

#include <stdbool.h>

/* Call after openthread_start(). Retries joining until the device has a network. */
void joining_start(void);

/* True once the device has network credentials (it joined, now or earlier). */
bool joining_has_network(void);

/* Forgets the Thread network and resets, after 'delay_ms' (so that an answer to the request
 * can go out first), and after removing its SRP registration when attached. Only the network
 * is erased: the device's settings and its SRP key stay. It then boots without a network, and
 * joins again. Callable from any thread. */
void joining_forget(int delay_ms);

#endif // JOINING_H_
```
